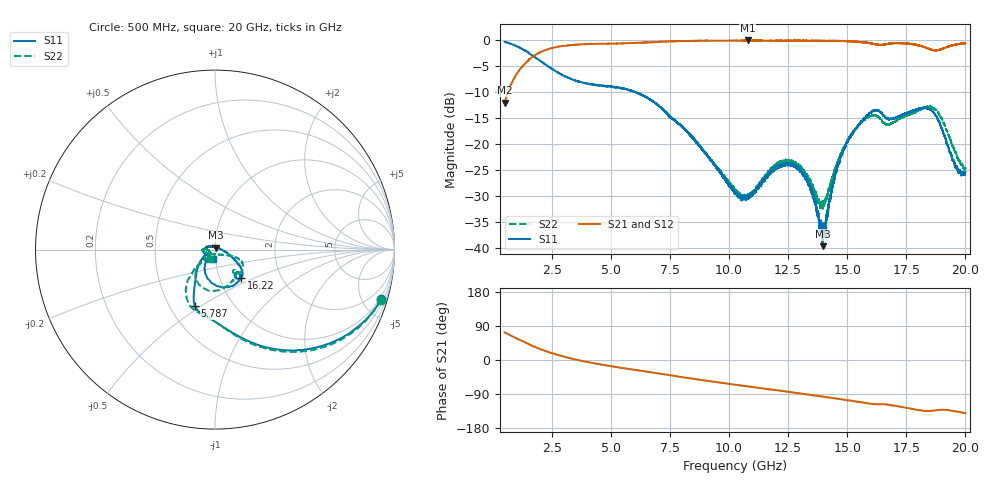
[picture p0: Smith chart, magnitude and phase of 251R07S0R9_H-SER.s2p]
!{201R07S0R9}
!Johanson Technology Inc.
!www.johansontechnology.com
!Test Board Conditions:
!Substrate Type  RO4350B
!Substrate Thickness  10 mil
!Substrate Dk  3.66
!TL Type: GCPW
!TL Trace Width  21 mil
!TL Gap  20 mil
!Electrode orientation  Horizontal
!DUT TOPOLOGY	SERIES
!Mounting Pad LxW  16x21 mil
!Agilent Technologies,N5230A,MY45001966,A.07.50.67
!Agilent N5230A: A.07.50.67
! Created Mon Mar  9 16:18:23 2020
# mhz S ma R 50
! 2 Port Network Data from SP1.SP block
! freq  magS11  angS11  magS21  angS21  magS12  angS12  magS22  angS22
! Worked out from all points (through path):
!   19501 points, 500 MHz to 20 GHz, reference 50 ohm
!   highest |S21| = -0.03 dB at 10.79 GHz (marker M1); lowest = -12.0 dB at 500 MHz (marker M2)
!   lowest |S11| = -39.6 dB at 13.96 GHz (marker M3), VSWR 1.02, Z = 50.3 + j0.998 ohm
!   |S11| at or under -10 dB: 6.060765 GHz to 6.061235 GHz (470.6 kHz wide, 0.00776 % of centre); 6.066077 GHz to 6.068818 GHz (2.741 MHz wide, 0.0452 % of centre); 6.069 GHz to end of sweep
!   |S22| runs from -32.4 to -0.3 dB; largest |S21 - S12| = 0.014
!   S11 on the Smith chart (normalised r, x): 500 MHz: 0.80, -6.72; 5.787 GHz: 0.67, -0.47; 16.22 GHz: 1.26, -0.42; 20 GHz: 0.97, -0.10
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500  0.9663 -16.7  0.2512 72.7  0.252 72.8  0.966 -17.1
997  0.8797 -32.2  0.4691 57.2  0.4688 57.1  0.8816 -33.0
1640  0.7233 -50.8  0.6834 38.4  0.6841 38.3  0.7251 -51.9
2592  0.5154 -72.9  0.8524 16.3  0.8511 16.2  0.5172 -73.7
3750  0.3948 -91.5  0.9133 -2.2  0.9127 -2.2  0.3934 -91.9
5787  0.3325 -109.9  0.938 -23.9  0.9391 -23.9  0.3299 -116.8
7000  0.237 -118.8  0.9659 -35.4  0.9665 -35.4  0.2374 -130.7
10250  0.03336 -148.6  0.993 -65.1  0.9922 -65.0  0.03551 -139.1
10795  0.03112 -139.4  0.9963 -69.7  0.9927 -69.7  0.03195 -163.0
12376  0.06475 -168.0  0.9931 -82.8  0.9908 -83.1  0.0683 -178.9
13003  0.05433 173.1  0.9911 -88.2  0.9873 -88.3  0.06069 -169.6
13500  0.03562 150.4  0.99 -92.7  0.9879 -92.6  0.04029 -149.7
13963  0.01049 70.9  0.9834 -96.5  0.9921 -96.8  0.02551 -89.9
14541  0.05502 -11.4  0.9824 -101.7  0.9848 -101.8  0.06097 -29.5
14894  0.09341 -21.8  0.9822 -105.1  0.9798 -105.0  0.09607 -21.6
15607  0.1654 -33.4  0.9611 -111.8  0.9582 -111.8  0.1625 -24.4
16216  0.2139 -47.3  0.9111 -116.7  0.9109 -116.5  0.1882 -43.4
16750  0.174 -49.3  0.929 -117.9  0.9229 -118.0  0.154 -47.4
17742  0.2082 -47.7  0.9184 -128.9  0.9192 -129.4  0.1965 -60.3
18602  0.2077 -83.1  0.8078 -134.0  0.8062 -133.9  0.2266 -104.5
19630  0.06112 -121.3  0.9141 -136.1  0.9147 -135.8  0.07846 -133.3
20000  0.0549 -104.3  0.9353 -140.3  0.9361 -140.3  0.05863 -115.5
